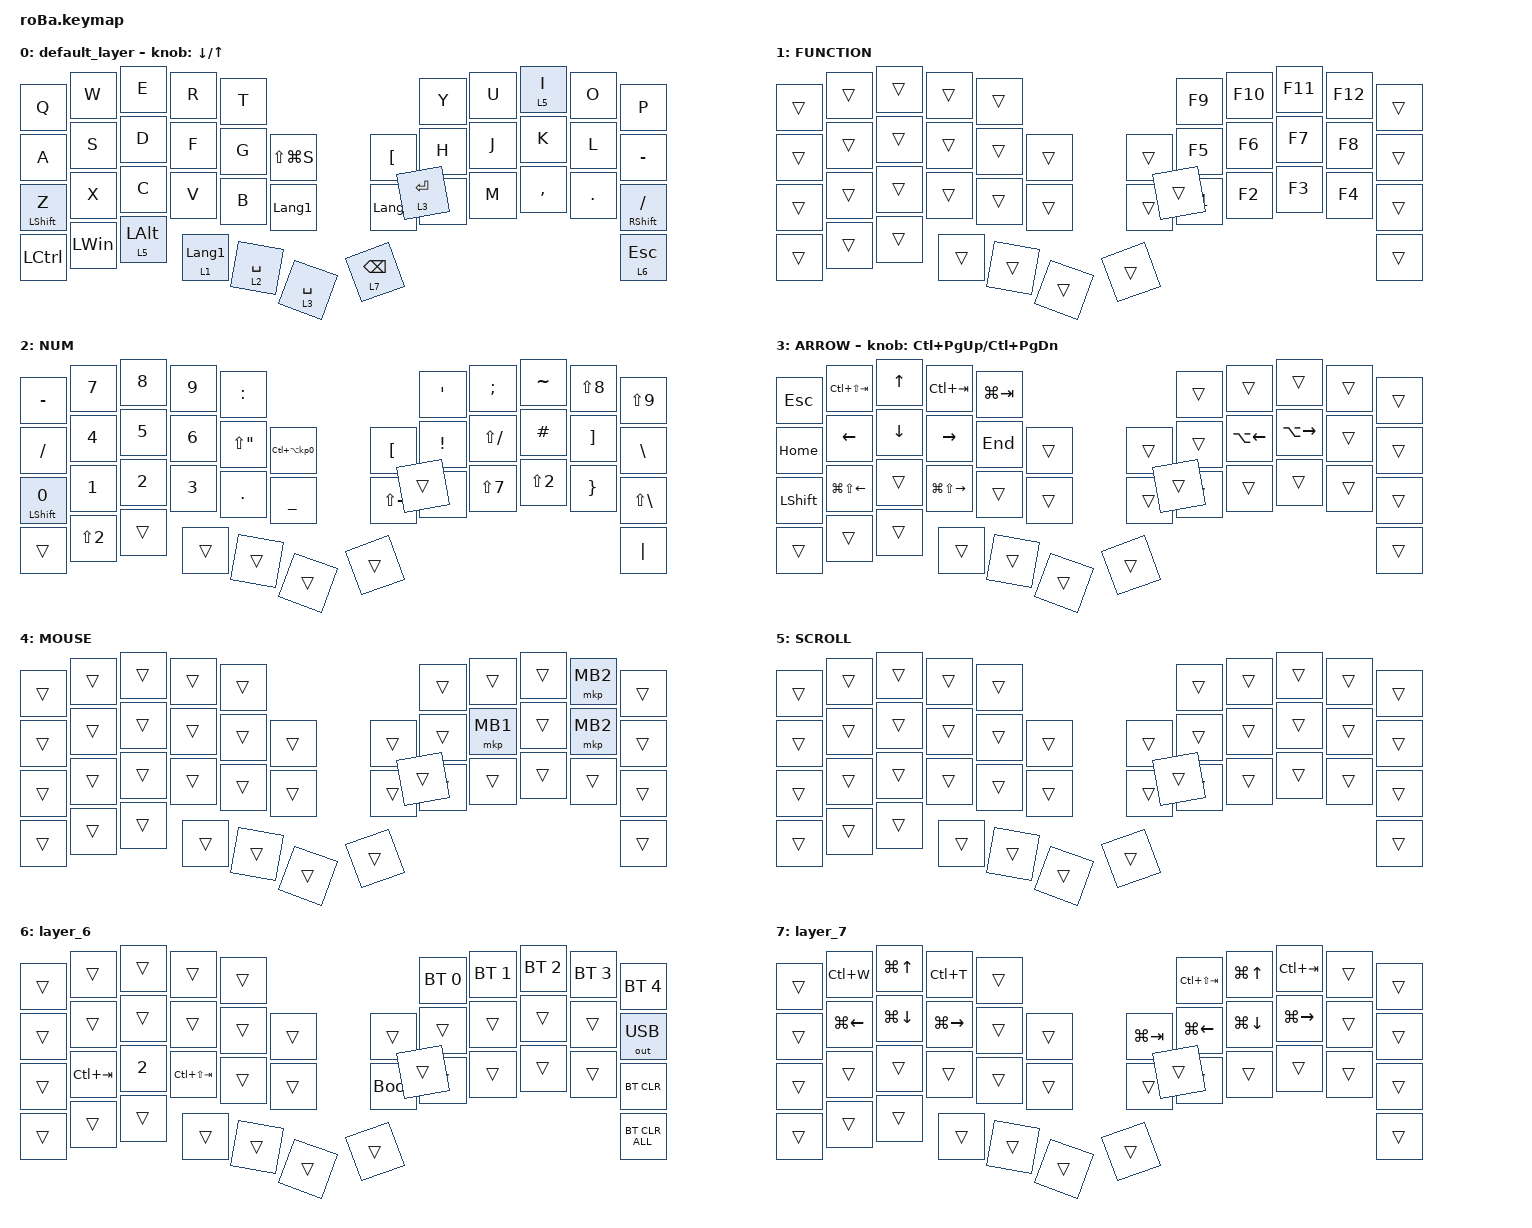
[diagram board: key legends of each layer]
#include <behaviors.dtsi>
#include <dt-bindings/zmk/bt.h>
#include <dt-bindings/zmk/keys.h>
#include <dt-bindings/zmk/outputs.h>
#include <dt-bindings/zmk/pointing.h>

// OS設定を日本語キーボードのまま使用するための変換定義

#define JP_DQUOTE       AT                // "
#define JP_AMPERSAND    CARET             // &
#define JP_QUOTE        AMPERSAND         // '
#define JP_EQUAL        UNDER             // =
#define JP_CARET        EQUAL             // ^
#define JP_YEN          0x89              // ¥
#define JP_PLUS         COLON             // +
#define JP_TILDE        PLUS              // ~
#define JP_PIPE         LS(0x89)          // |
#define JP_AT           LEFT_BRACKET      // @
#define JP_COLON        SINGLE_QUOTE      // :
#define JP_ASTERISK     DOUBLE_QUOTES     // *
#define JP_BACKQUOTE    LEFT_BRACE        // `
#define JP_UNDERSCORE   LS(0x87)          // _
#define JP_LBRACKET     RIGHT_BRACKET     // [
#define JP_RBRACKET     BACKSLASH         // ]
#define JP_LPAREN       ASTERISK          // (
#define JP_RPAREN       LEFT_PARENTHESIS  // )
#define JP_LBRACE       RIGHT_BRACE       // {
#define JP_RBRACE       PIPE              // }
#define JP_KANA         LANGUAGE_1        // かな
#define JP_EISU         LANGUAGE_2        // 英数
#define JP_HANZEN       GRAVE             // 半角/全角

&mt {
    flavor = "balanced";
    quick-tap-ms = <0>;
};

&trackball {
    automouse-layer = <4>;
    scroll-layers = <5>;

    // arrows {
    //     layers = <3>;
    //     bindings =
    //         <&kp RIGHT_ARROW>,
    //         <&kp LEFT_ARROW>,
    //         <&kp UP_ARROW>,
    //         <&kp DOWN_ARROW>;
    //     tick = <10>;
    //     wait-ms = <5>;
    //     tap-ms = <5>;
    // };
};

/ {
    combos {
        compatible = "zmk,combos";

        tab {
            bindings = <&kp TAB>;
            key-positions = <11 12>;
        };

        shift_tab {
            bindings = <&kp LS(TAB)>;
            key-positions = <12 13>;
        };

        muhennkann {
            bindings = <&to_layer_0 INT_MUHENKAN>;
            key-positions = <11 10>;
        };

        double_quotation {
            bindings = <&kp DOUBLE_QUOTES>;
            key-positions = <20 21>;
        };

        eq {
            bindings = <&kp EQUAL>;
            key-positions = <24 25>;
        };
    };

    macros {
        to_layer_0: to_layer_0 {
            compatible = "zmk,behavior-macro-one-param";
            #binding-cells = <1>;
            bindings = <&to 0 &macro_param_1to1 &kp MACRO_PLACEHOLDER>;
            label = "TO_LAYER_0";
        };

        new_macro: new_macro {
            compatible = "zmk,behavior-macro";
            #binding-cells = <0>;
            bindings = <&none>;
            label = "NEW_MACRO";
        };
    };

    behaviors {
        lt_to_layer_0: lt_to_layer_0 {
            compatible = "zmk,behavior-hold-tap";
            label = "LAYER_TAP_TO_0";
            bindings = <&mo>, <&to_layer_0>;

            #binding-cells = <2>;
            tapping-term-ms = <200>;
        };
    };

    keymap {
        compatible = "zmk,keymap";

        default_layer {
            bindings = <
&kp Q             &kp W         &kp E                      &kp R                        &kp T                                                      &kp Y        &kp U  &lt 5 I    &kp O    &kp P
&kp A             &kp S         &kp D                      &kp F                        &kp G        &kp LS(LG(S))               &kp LEFT_BRACKET  &kp H        &kp J  &kp K      &kp L    &kp MINUS
&mt LEFT_SHIFT Z  &kp X         &kp C                      &kp V                        &kp B        &kp LANGUAGE_1              &kp LANGUAGE_2    &kp N        &kp M  &kp COMMA  &kp DOT  &mt RSHFT SLASH
&kp LCTRL         &kp LEFT_WIN  &lt_to_layer_0 5 LEFT_ALT  &lt_to_layer_0 1 LANGUAGE_1  &lt 2 SPACE  &lt_to_layer_0 3 SPACE      &lt 7 BACKSPACE   &lt 3 ENTER                             &lt 6 ESC
            >;

            sensor-bindings = <&inc_dec_kp DOWN_ARROW UP_ARROW>;
        };

        FUNCTION {
            bindings = <
&trans  &trans  &trans  &trans  &trans                      &kp F9  &kp F10  &kp F11  &kp F12  &trans
&trans  &trans  &trans  &trans  &trans  &trans      &trans  &kp F5  &kp F6   &kp F7   &kp F8   &trans
&trans  &trans  &trans  &trans  &trans  &trans      &trans  &kp F1  &kp F2   &kp F3   &kp F4   &trans
&trans  &trans  &trans  &trans  &trans  &trans      &trans  &trans                             &trans
            >;
        };

        NUM {
            bindings = <
&kp MINUS                &kp N7            &kp N8        &kp NUMBER_9  &kp COLON                                                             &kp APOSTROPHE    &kp SEMI       &kp TILDE         &kp LS(NUMBER_8)   &kp LS(NUMBER_9)
&kp SLASH                &kp NUMBER_4      &kp N5        &kp NUMBER_6  &kp LS(DOUBLE_QUOTES)  &kp LC(LA(KP_NUMBER_0))      &kp LEFT_BRACKET  &kp EXCLAMATION   &kp LS(SLASH)  &kp HASH          &kp RIGHT_BRACKET  &kp BACKSLASH
&mt LEFT_SHIFT NUMBER_0  &kp N1            &kp NUMBER_2  &kp NUMBER_3  &kp PERIOD             &kp UNDER                    &kp LS(MINUS)     &kp LEFT_BRACKET  &kp LS(N7)     &kp LS(NUMBER_2)  &kp RIGHT_BRACE    &kp LS(BACKSLASH)
&trans                   &kp LS(NUMBER_2)  &trans        &trans        &trans                 &trans                       &trans            &trans                                                                &kp PIPE
            >;
        };

        ARROW {
            bindings = <
&kp ESCAPE      &kp LC(LS(TAB))         &kp UP_ARROW    &kp LC(TAB)              &kp LG(TAB)                      &trans  &trans              &trans         &trans  &trans
&kp HOME        &kp LEFT_ARROW          &kp DOWN_ARROW  &kp RIGHT_ARROW          &kp END      &trans      &trans  &trans  &kp LA(LEFT_ARROW)  &kp LA(RIGHT)  &trans  &trans
&kp LEFT_SHIFT  &kp LG(LS(LEFT_ARROW))  &trans          &kp LG(LS(RIGHT_ARROW))  &trans       &trans      &trans  &trans  &trans              &trans         &trans  &trans
&trans          &trans                  &trans          &trans                   &trans       &trans      &trans  &trans                                             &trans
            >;

            sensor-bindings = <&inc_dec_kp LC(PAGE_UP) LC(PAGE_DOWN)>;
        };

        MOUSE {
            bindings = <
&trans  &trans  &trans  &trans  &trans                      &trans  &trans    &trans  &mkp MB2  &trans
&trans  &trans  &trans  &trans  &trans  &trans      &trans  &trans  &mkp MB1  &trans  &mkp MB2  &trans
&trans  &trans  &trans  &trans  &trans  &trans      &trans  &trans  &trans    &trans  &trans    &trans
&trans  &trans  &trans  &trans  &trans  &trans      &trans  &trans                              &trans
            >;
        };

        SCROLL {
            bindings = <
&trans  &trans  &trans  &trans  &trans                      &trans  &trans  &trans  &trans  &trans
&trans  &trans  &trans  &trans  &trans  &trans      &trans  &trans  &trans  &trans  &trans  &trans
&trans  &trans  &trans  &trans  &trans  &trans      &trans  &trans  &trans  &trans  &trans  &trans
&trans  &trans  &trans  &trans  &trans  &trans      &trans  &trans                          &trans
            >;
        };

        layer_6 {
            bindings = <
&trans  &trans       &trans        &trans           &trans                           &bt BT_SEL 0  &bt BT_SEL 1  &bt BT_SEL 2  &bt BT_SEL 3  &bt BT_SEL 4
&trans  &trans       &trans        &trans           &trans  &trans      &trans       &trans        &trans        &trans        &trans        &out OUT_USB
&trans  &kp LC(TAB)  &kp NUMBER_2  &kp LC(LS(TAB))  &trans  &trans      &bootloader  &trans        &trans        &trans        &trans        &bt BT_CLR
&trans  &trans       &trans        &trans           &trans  &trans      &trans       &trans                                                  &bt BT_CLR_ALL
            >;
        };

        layer_7 {
            bindings = <
&trans  &kp LC(W)           &kp LG(UP_ARROW)    &kp LC(T)            &trans                           &kp LC(LS(TAB))  &kp LG(UP_ARROW)    &kp LC(TAB)          &trans  &trans
&trans  &kp LG(LEFT_ARROW)  &kp LG(DOWN_ARROW)  &kp LG(RIGHT_ARROW)  &trans  &trans      &kp LG(TAB)  &kp LG(LEFT)     &kp LG(DOWN_ARROW)  &kp LG(RIGHT_ARROW)  &trans  &trans
&trans  &trans              &trans              &trans               &trans  &trans      &trans       &trans           &trans              &trans               &trans  &trans
&trans  &trans              &trans              &trans               &trans  &trans      &trans       &trans                                                            &trans
            >;
        };
    };
};
